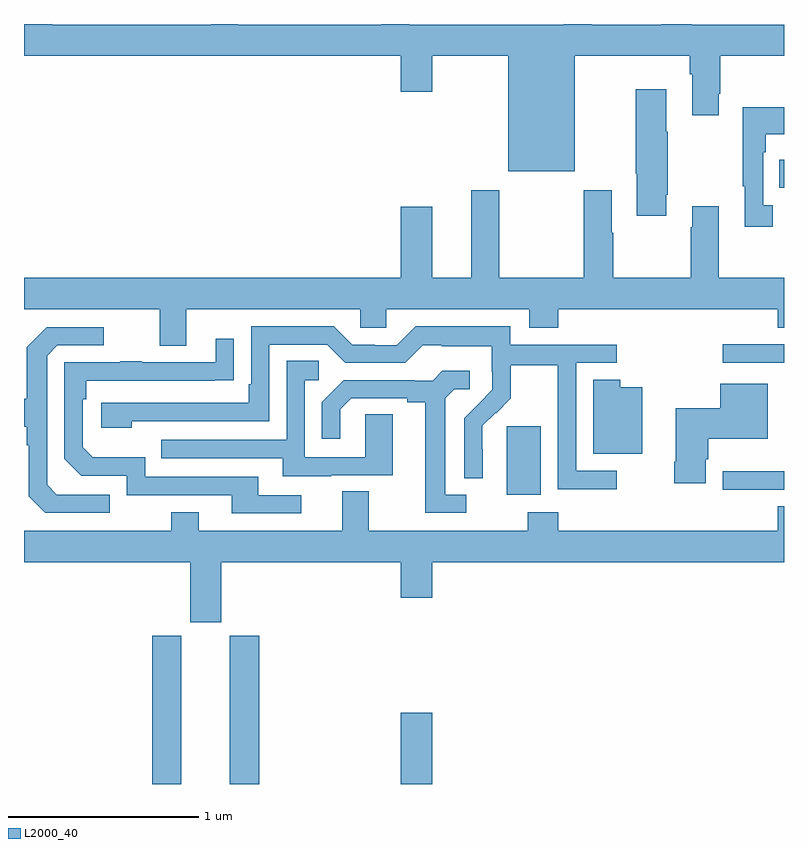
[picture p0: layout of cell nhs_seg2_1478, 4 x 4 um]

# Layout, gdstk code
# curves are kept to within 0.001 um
import gdstk
lib = gdstk.Library(unit=1e-6, precision=1e-09)
def R(c, l, rs):  # rectangles x0, y0, x1, y1
    for r in rs: c.add(gdstk.rectangle(r[:2], r[2:], *l))
def P(c, l, *ps):  # polygons
    for p in ps: c.add(gdstk.Polygon(p, *l))
L2000_40 = (2000, 40)

nhs_seg2_1478 = lib.new_cell('nhs_seg2_1478')
R(nhs_seg2_1478, L2000_40, [(187.676,647.8,187.828,648.579), (188.084,647.8,188.237,648.579), (188.984,647.8,189.148,648.175), (189.542,649.322,189.721,649.683), (190.677,649.35,191,649.447), (190.677,650.016,191,650.114), (190.975,650.938,191,651.085)])
P(nhs_seg2_1478, L2000_40, [(189.898,651.632),(190.505,651.632),(190.505,651.536),(190.517,651.536),(190.517,651.321),(190.657,651.321),(190.657,651.433),(190.665,651.433),(190.665,651.632),(191,651.632),(191,651.796),(190.514,651.796),(190.514,651.8),(190.354,651.8),(190.354,651.796),(189.987,651.796),(189.987,651.8),(189.84,651.8),(189.84,651.796),(189.027,651.796),(189.027,651.8),(188.879,651.8),(188.879,651.796),(188.125,651.796),(188.125,651.8),(187.985,651.8),(187.985,651.796),(187.149,651.796),(187.149,651.8),(187,651.8),(187,651.632),(188.984,651.632),(188.984,651.444),(189.148,651.444),(189.148,651.632),(189.548,651.632),(189.548,651.026),(189.898,651.026)],
  [(190.381,650.902),(190.389,650.902),(190.389,651.233),(190.381,651.233),(190.381,651.457),(190.219,651.457),(190.219,651.013),(190.226,651.013),(190.226,650.79),(190.381,650.79)],
  [(190.942,650.846),(190.89,650.846),(190.89,651.125),(190.903,651.125),(190.903,651.221),(191,651.221),(191,651.361),(190.782,651.361),(190.782,650.945),(190.793,650.945),(190.793,650.733),(190.942,650.733)],
  [(187.855,650.3),(188.769,650.3),(188.769,650.202),(188.907,650.202),(188.907,650.3),(189.659,650.3),(189.659,650.201),(189.812,650.201),(189.812,650.3),(190.967,650.3),(190.967,650.202),(191,650.202),(191,650.464),(190.657,650.464),(190.657,650.842),(190.517,650.842),(190.517,650.729),(190.51,650.729),(190.51,650.464),(190.101,650.464),(190.101,650.702),(190.093,650.702),(190.093,650.926),(189.946,650.926),(189.946,650.464),(189.501,650.464),(189.501,650.926),(189.353,650.926),(189.353,650.464),(189.148,650.464),(189.148,650.839),(188.984,650.839),(188.984,650.464),(187,650.464),(187,650.3),(187.715,650.3),(187.715,650.106),(187.855,650.106)],
  [(190.12,649.449),(189.906,649.449),(189.906,650.016),(190.12,650.016),(190.12,650.112),(189.558,650.112),(189.558,650.209),(189.061,650.209),(188.961,650.109),(188.846,650.109),(188.846,650.112),(188.727,650.112),(188.631,650.208),(188.196,650.208),(188.196,649.903),(188.183,649.903),(188.183,649.806),(187.407,649.806),(187.407,649.676),(187.568,649.676),(187.568,649.71),(188.292,649.71),(188.292,650.112),(188.595,650.112),(188.691,650.016),(189.006,650.016),(189.099,650.109),(189.199,650.109),(189.199,650.105),(189.462,650.105),(189.462,649.971),(189.464,649.971),(189.464,649.874),(189.318,649.726),(189.318,649.408),(189.414,649.408),(189.413,649.685),(189.483,649.755),(189.486,649.752),(189.563,649.829),(189.563,650.004),(189.808,650.004),(189.808,649.78),(189.81,649.78),(189.81,649.351),(190.12,649.351)],
  [(187.45,649.323),(187.173,649.323),(187.122,649.374),(187.122,650.055),(187.176,650.109),(187.42,650.109),(187.42,650.205),(187.119,650.205),(187.014,650.099),(187.014,649.827),(187,649.827),(187,649.679),(187.014,649.679),(187.014,649.583),(187.026,649.583),(187.026,649.314),(187.113,649.227),(187.45,649.227)],
  [(188.458,649.32),(188.233,649.32),(188.233,649.416),(187.638,649.416),(187.638,649.519),(187.361,649.519),(187.308,649.572),(187.308,649.826),(187.328,649.826),(187.328,649.923),(188.105,649.924),(188.105,650.143),(188.009,650.143),(188.009,650.019),(187.619,650.019),(187.619,650.024),(187.507,650.024),(187.507,650.019),(187.212,650.019),(187.212,649.512),(187.302,649.422),(187.542,649.422),(187.542,649.32),(188.093,649.32),(188.093,649.224),(188.458,649.224)],
  [(188.617,649.425),(188.941,649.425),(188.941,649.745),(188.796,649.745),(188.796,649.521),(188.478,649.521),(188.478,649.926),(188.551,649.926),(188.551,650.027),(188.382,650.027),(188.382,649.611),(187.723,649.611),(187.723,649.515),(188.363,649.515),(188.363,649.421),(188.617,649.421)],
  [(189.328,649.323),(189.217,649.323),(189.217,649.831),(189.264,649.878),(189.346,649.878),(189.346,649.975),(189.202,649.975),(189.15,649.923),(189.056,649.923),(189.056,649.926),(188.684,649.926),(188.568,649.81),(188.568,649.617),(188.665,649.617),(188.665,649.773),(188.722,649.83),(189.017,649.83),(189.017,649.808),(189.113,649.808),(189.113,649.227),(189.328,649.227)],
  [(190.255,649.888),(190.139,649.888),(190.139,649.927),(189.995,649.927),(189.995,649.538),(190.255,649.538)],
  [(190.588,649.508),(190.601,649.508),(190.601,649.616),(190.915,649.616),(190.915,649.906),(190.664,649.906),(190.664,649.777),(190.43,649.777),(190.43,649.495),(190.423,649.495),(190.423,649.383),(190.588,649.383)],
  [(188.038,648.968),(188.984,648.968),(188.984,648.78),(189.148,648.78),(189.148,648.968),(191,648.968),(191,649.261),(190.967,649.261),(190.967,649.132),(189.812,649.132),(189.812,649.231),(189.652,649.231),(189.652,649.132),(188.815,649.132),(188.815,649.34),(188.675,649.34),(188.675,649.132),(187.921,649.132),(187.921,649.231),(187.774,649.231),(187.774,649.132),(187,649.132),(187,648.968),(187.874,648.968),(187.874,648.651),(188.038,648.651)])

lib.write_gds('nhs_seg2_1478.gds')
